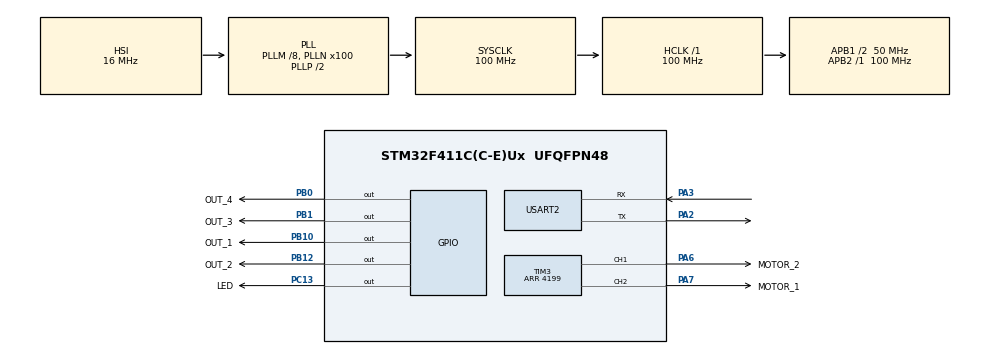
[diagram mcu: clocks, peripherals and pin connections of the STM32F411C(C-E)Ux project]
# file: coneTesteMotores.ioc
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Dma.Request0=USART2_RX
Dma.Request1=USART2_TX
Dma.USART2_RX.0.Direction=DMA_PERIPH_TO_MEMORY
Dma.USART2_RX.0.FIFOMode=DMA_FIFOMODE_DISABLE
Dma.USART2_RX.0.Instance=DMA1_Stream5
Dma.USART2_RX.0.MemDataAlignment=DMA_MDATAALIGN_BYTE
Dma.USART2_RX.0.MemInc=DMA_MINC_ENABLE
Dma.USART2_RX.0.Mode=DMA_CIRCULAR
Dma.USART2_RX.0.PeriphDataAlignment=DMA_PDATAALIGN_BYTE
Dma.USART2_RX.0.PeriphInc=DMA_PINC_DISABLE
Dma.USART2_RX.0.Priority=DMA_PRIORITY_LOW
Dma.USART2_TX.1.Direction=DMA_MEMORY_TO_PERIPH
Dma.USART2_TX.1.FIFOMode=DMA_FIFOMODE_DISABLE
Dma.USART2_TX.1.Instance=DMA1_Stream6
Dma.USART2_TX.1.MemDataAlignment=DMA_MDATAALIGN_BYTE
Dma.USART2_TX.1.MemInc=DMA_MINC_ENABLE
Dma.USART2_TX.1.Mode=DMA_NORMAL
Dma.USART2_TX.1.PeriphDataAlignment=DMA_PDATAALIGN_BYTE
Dma.USART2_TX.1.PeriphInc=DMA_PINC_DISABLE
Dma.USART2_TX.1.Priority=DMA_PRIORITY_LOW
FREERTOS.Tasks01=defaultTask,0,128,StartDefaultTask,Default,NULL,Dynamic,NULL,NULL
FREERTOS.configGENERATE_RUN_TIME_STATS=1
FREERTOS.configUSE_NEWLIB_REENTRANT=1
FREERTOS.configUSE_STATS_FORMATTING_FUNCTIONS=1
FREERTOS.configUSE_TRACE_FACILITY=1
Mcu.Family=STM32F4
Mcu.Name=STM32F411C(C-E)Ux
Mcu.Package=UFQFPN48
NVIC.DMA1_Stream5_IRQn=true\:5\:0\:false\:false\:true\:true\:false\:true\:true
NVIC.DMA1_Stream6_IRQn=true\:5\:0\:false\:false\:true\:true\:false\:true\:true
NVIC.PriorityGroup=NVIC_PRIORITYGROUP_4
NVIC.TIM1_UP_TIM10_IRQn=true\:15\:0\:false\:false\:true\:false\:false\:true\:true
NVIC.TimeBase=TIM1_UP_TIM10_IRQn
NVIC.TimeBaseIP=TIM1
NVIC.USART2_IRQn=true\:5\:0\:false\:false\:true\:true\:true\:true\:true
PA13.Mode=Serial_Wire
PA13.Signal=SYS_JTMS-SWDIO
PA14.Mode=Serial_Wire
PA14.Signal=SYS_JTCK-SWCLK
PA2.Mode=Asynchronous
PA2.Signal=USART2_TX
PA3.Mode=Asynchronous
PA3.Signal=USART2_RX
PA6.GPIO_Label=MOTOR_2
PA6.Signal=S_TIM3_CH1
PA7.GPIO_Label=MOTOR_1
PA7.Signal=S_TIM3_CH2
PB0.GPIO_Label=OUT_4
PB0.Signal=GPIO_Output
PB1.GPIO_Label=OUT_3
PB1.Signal=GPIO_Output
PB10.GPIO_Label=OUT_1
PB10.Signal=GPIO_Output
PB12.GPIO_Label=OUT_2
PB12.Signal=GPIO_Output
PC13-ANTI_TAMP.GPIO_Label=LED
PC13-ANTI_TAMP.Signal=GPIO_Output
ProjectManager.HeapSize=0x200
ProjectManager.StackSize=0x400
ProjectManager.TargetToolchain=STM32CubeIDE
RCC.48MHZClocksFreq_Value=50000000
RCC.AHBFreq_Value=100000000
RCC.APB1CLKDivider=RCC_HCLK_DIV2
RCC.APB1Freq_Value=50000000
RCC.APB1TimFreq_Value=100000000
RCC.APB2Freq_Value=100000000
RCC.APB2TimFreq_Value=100000000
RCC.CortexFreq_Value=100000000
RCC.HCLKFreq_Value=100000000
RCC.HSE_VALUE=25000000
RCC.HSI_VALUE=16000000
RCC.LSE_VALUE=32768
RCC.PLLM=8
RCC.PLLN=100
RCC.SYSCLKFreq_VALUE=100000000
RCC.SYSCLKSource=RCC_SYSCLKSOURCE_PLLCLK
RCC.VCOOutputFreq_Value=200000000
SH.S_TIM3_CH1.0=TIM3_CH1,PWM Generation1 CH1
SH.S_TIM3_CH2.0=TIM3_CH2,PWM Generation2 CH2
TIM3.Channel-PWM\ Generation1\ CH1=TIM_CHANNEL_1
TIM3.Channel-PWM\ Generation2\ CH2=TIM_CHANNEL_2
TIM3.Period=4199
USART2.VirtualMode=VM_ASYNC
VP_FREERTOS_VS_CMSIS_V1.Mode=CMSIS_V1
VP_SYS_VS_tim1.Mode=TIM1
board=custom

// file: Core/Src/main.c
/* USER CODE BEGIN Header */
/**
  ******************************************************************************
  * @file           : main.c
  * @brief          : Main program body
  ******************************************************************************
  * @attention
  *
  * Copyright (c) 2025 STMicroelectronics.
  * All rights reserved.
  *
  * This software is licensed under terms that can be found in the LICENSE file
  * in the root directory of this software component.
  * If no LICENSE file comes with this software, it is provided AS-IS.
  *
  ******************************************************************************
  */
/* USER CODE END Header */
#include "main.h"
#include "cmsis_os.h"
#include "dma.h"
#include "tim.h"
#include "usart.h"
#include "gpio.h"

/* USER CODE BEGIN Includes */
#include "FreeRTOS.h"
#include <stdlib.h>   // atoi
#include "task.h"
#include "queue.h"
#include "semphr.h"
#include <string.h>
#include <stdio.h>
#include <ctype.h>

/* USER CODE END Includes */

/* USER CODE BEGIN PD */
#define RX_QUEUE_LEN        128
#define CMD_LINE_MAX        64
#define UART_TX_TIMEOUT_MS  1000
#define MOTOR_PWM_CCR_FIXED 4000U

/* USER CODE END PD */

/* USER CODE BEGIN PV */
// UART2 RX (1 byte por interrupção)
static uint8_t uart2_rx_byte = 0;
static QueueHandle_t q_uart2_rx = NULL;

// UART2 TX sync
static SemaphoreHandle_t sem_uart2_tx = NULL;
static SemaphoreHandle_t mtx_uart2_tx = NULL;

// Console
static char cmd_line[CMD_LINE_MAX];
static uint32_t cmd_len = 0;

// Estado do motor
static uint8_t motor_enabled = 0;

/* USER CODE END PV */

void SystemClock_Config(void);
void MX_FREERTOS_Init(void);

/* USER CODE BEGIN 0 */
static void uart2_write_blocking_it(const uint8_t *data, uint16_t len, TickType_t timeoutTicks)
{
    if (data == NULL || len == 0) return;
    if (mtx_uart2_tx == NULL || sem_uart2_tx == NULL) return;

    if (xSemaphoreTake(mtx_uart2_tx, timeoutTicks) != pdTRUE) return;

    // garante semáforo "vazio" antes de iniciar TX
    (void)xSemaphoreTake(sem_uart2_tx, 0);

    if (HAL_UART_Transmit_IT(&huart2, (uint8_t*)data, len) == HAL_OK)
    {
        (void)xSemaphoreTake(sem_uart2_tx, timeoutTicks);
    }

    xSemaphoreGive(mtx_uart2_tx);
}

static void uart2_write_str(const char *s)
{
    uart2_write_blocking_it((const uint8_t*)s, (uint16_t)strlen(s), pdMS_TO_TICKS(UART_TX_TIMEOUT_MS));
}

void HAL_UART_TxCpltCallback(UART_HandleTypeDef *huart)
{
    if (huart->Instance != USART2) return;

    BaseType_t hpw = pdFALSE;
    xSemaphoreGiveFromISR(sem_uart2_tx, &hpw);
    portYIELD_FROM_ISR(hpw);
}

void HAL_UART_RxCpltCallback(UART_HandleTypeDef *huart)
{
    if (huart->Instance != USART2) return;

    BaseType_t hpw = pdFALSE;
    if (q_uart2_rx != NULL)
    {
        xQueueSendFromISR(q_uart2_rx, &uart2_rx_byte, &hpw);
    }

    // rearma recepção de 1 byte
    (void)HAL_UART_Receive_IT(&huart2, &uart2_rx_byte, 1);
    portYIELD_FROM_ISR(hpw);
}

void HAL_UART_ErrorCallback(UART_HandleTypeDef *huart)
{
    if (huart->Instance != USART2) return;
    // rearma RX em caso de erro
    (void)HAL_UART_Receive_IT(&huart2, &uart2_rx_byte, 1);
}

// Motores
static void motors_safe_off_pins(void)
{
    HAL_GPIO_WritePin(GPIOB, OUT_1_Pin, GPIO_PIN_RESET);
    HAL_GPIO_WritePin(GPIOB, OUT_2_Pin, GPIO_PIN_RESET);
    HAL_GPIO_WritePin(GPIOB, OUT_3_Pin, GPIO_PIN_RESET);
    HAL_GPIO_WritePin(GPIOB, OUT_4_Pin, GPIO_PIN_RESET);
}

static void motors_forward_pins(void)
{
    HAL_GPIO_WritePin(GPIOB, OUT_3_Pin, GPIO_PIN_RESET);
    HAL_GPIO_WritePin(GPIOB, OUT_4_Pin, GPIO_PIN_SET);
    HAL_GPIO_WritePin(GPIOB, OUT_1_Pin, GPIO_PIN_RESET);
    HAL_GPIO_WritePin(GPIOB, OUT_2_Pin, GPIO_PIN_SET);
}

//funcao para testar
static void motors_set_pwm_ccr(uint32_t ccr)
{
    uint32_t arr = __HAL_TIM_GET_AUTORELOAD(&htim3);

    // Garante CCR válido
    if (ccr > arr) ccr = arr;

    __HAL_TIM_SET_COMPARE(&htim3, TIM_CHANNEL_1, ccr);
    __HAL_TIM_SET_COMPARE(&htim3, TIM_CHANNEL_2, ccr);
}

static void motors_off(void)
{
    motors_set_pwm_ccr(0);
    motors_safe_off_pins();
    motor_enabled = 0;
}

static void motors_on(void)
{
    motors_forward_pins();
    motors_set_pwm_ccr(MOTOR_PWM_CCR_FIXED);
    motor_enabled = 1;
}

// console
static void print_help(void)
{
    uart2_write_str(
        "\r\nCommands:\r\n"
        "  help     - show this help\r\n"
        "  clear    - clear terminal\r\n"
        "  on       - motors ON (fixed PWM)\r\n"
        "  off      - motors OFF\r\n"
        "  status   - show motor status\r\n"
#if (configUSE_TRACE_FACILITY == 1) && (configUSE_STATS_FORMATTING_FUNCTIONS == 1)
        "  tasks    - list tasks\r\n"
#endif
#if (configGENERATE_RUN_TIME_STATS == 1)
        "  runtime  - runtime stats\r\n"
#endif
        "\r\n"
    );
}

static void handle_line(const char *line)
{
    // normaliza: remove espaços e lower->upper
    char cmd[CMD_LINE_MAX];
    size_t k = 0;
    for (size_t i = 0; line[i] && k < sizeof(cmd)-1; i++)
    {
        if (isspace((unsigned char)line[i])) continue;
        cmd[k++] = (char)toupper((unsigned char)line[i]);
    }
    cmd[k] = 0;

    if (strcmp(cmd, "HELP") == 0) { print_help(); return; }
    if (strcmp(cmd, "CLEAR") == 0) { uart2_write_str("\033c"); return; }

    if (strcmp(cmd, "ON") == 0) { motors_on(); uart2_write_str("OK ON\r\n"); return; }
    if (strcmp(cmd, "OFF") == 0) { motors_off(); uart2_write_str("OK OFF\r\n"); return; }
    if (strcmp(cmd, "STATUS") == 0)
    {
        char b[160];

        uint32_t arr  = __HAL_TIM_GET_AUTORELOAD(&htim3);
        uint32_t ccr1 = __HAL_TIM_GET_COMPARE(&htim3, TIM_CHANNEL_1);
        uint32_t ccr2 = __HAL_TIM_GET_COMPARE(&htim3, TIM_CHANNEL_2);

        snprintf(b, sizeof(b),
                 "EN=%u | FIXED_CCR=%lu | ARR=%lu CCR1=%lu CCR2=%lu\r\n",
                 motor_enabled,
                 (unsigned long)MOTOR_PWM_CCR_FIXED,
                 (unsigned long)arr,
                 (unsigned long)ccr1,
                 (unsigned long)ccr2);

        uart2_write_str(b);
        return;
    }

#if (configUSE_TRACE_FACILITY == 1) && (configUSE_STATS_FORMATTING_FUNCTIONS == 1)
    if (strcmp(cmd, "TASKS") == 0)
    {
        char out[512];
        strcpy(out, "Name\t\tState Prio Stack Num\r\n");
        vTaskList(out + strlen(out));
        uart2_write_str(out);
        return;
    }
#endif

#if (configGENERATE_RUN_TIME_STATS == 1)
    if (strcmp(cmd, "RUNTIME") == 0)
    {
        char out[512];
        strcpy(out, "Name\t\tAbs Time\t% Time\r\n");
        vTaskGetRunTimeStats(out + strlen(out));
        uart2_write_str(out);
        return;
    }
#endif

    uart2_write_str("ERR (type help)\r\n");
}

// tasks
static void shell_task(void *arg)
{
    (void)arg;

    uart2_write_str("\033cF411 UART2 console ready\r\n");
    print_help();
    uart2_write_str(">> ");

    for (;;)
    {
        uint8_t c;
        if (xQueueReceive(q_uart2_rx, &c, portMAX_DELAY) != pdTRUE)
            continue;

        // eco (opcional)
        uart2_write_blocking_it(&c, 1, pdMS_TO_TICKS(100));

        if (c == '\r' || c == '\n')
        {
            uart2_write_str("\r\n");
            if (cmd_len > 0)
            {
                cmd_line[cmd_len] = 0;
                handle_line(cmd_line);
                cmd_len = 0;
                memset(cmd_line, 0, sizeof(cmd_line));
            }
            uart2_write_str(">> ");
        }
        else if (c == 0x7F || c == 0x08) // backspace
        {
            if (cmd_len > 0)
            {
                cmd_len--;
                uart2_write_str("\b \b");
            }
        }
        else if (cmd_len < (CMD_LINE_MAX - 1))
        {
            cmd_line[cmd_len++] = (char)c;
        }
    }
}

static void blink_task(void *arg)
{
    (void)arg;
    TickType_t t = xTaskGetTickCount();
    for (;;)
    {
        HAL_GPIO_TogglePin(GPIOC, LED_Pin);
        vTaskDelayUntil(&t, pdMS_TO_TICKS(200));
    }
}

/* USER CODE END 0 */

int main(void)
{

  /* MCU Configuration--------------------------------------------------------*/

  /* Reset of all peripherals, Initializes the Flash interface and the Systick. */
  HAL_Init();

  /* Configure the system clock */
  SystemClock_Config();

  /* Initialize all configured peripherals */
  MX_GPIO_Init();
  MX_DMA_Init();
  MX_TIM3_Init();
  MX_USART2_UART_Init();
  /* USER CODE BEGIN 2 */
  HAL_TIM_PWM_Start(&htim3, TIM_CHANNEL_1);
  HAL_TIM_PWM_Start(&htim3, TIM_CHANNEL_2);

  motors_off();

  q_uart2_rx   = xQueueCreate(RX_QUEUE_LEN, sizeof(uint8_t));
  sem_uart2_tx = xSemaphoreCreateBinary();
  mtx_uart2_tx = xSemaphoreCreateMutex();

  HAL_UART_Receive_IT(&huart2, &uart2_rx_byte, 1);

  xTaskCreate(shell_task, "shell", 512, NULL, 4, NULL);
  xTaskCreate(blink_task, "blink", 128, NULL, 1, NULL);

  /* USER CODE END 2 */

  /* Call init function for freertos objects (in cmsis_os2.c) */
  MX_FREERTOS_Init();
  osKernelStart();

  /* We should never get here as control is now taken by the scheduler */

  /* Infinite loop */
  while (1)
  {

  }
}

void SystemClock_Config(void)
{
  RCC_OscInitTypeDef RCC_OscInitStruct = {0};
  RCC_ClkInitTypeDef RCC_ClkInitStruct = {0};

  /** Configure the main internal regulator output voltage
  */
  __HAL_RCC_PWR_CLK_ENABLE();
  __HAL_PWR_VOLTAGESCALING_CONFIG(PWR_REGULATOR_VOLTAGE_SCALE1);

  /** Initializes the RCC Oscillators according to the specified parameters
  * in the RCC_OscInitTypeDef structure.
  */
  RCC_OscInitStruct.OscillatorType = RCC_OSCILLATORTYPE_HSI;
  RCC_OscInitStruct.HSIState = RCC_HSI_ON;
  RCC_OscInitStruct.HSICalibrationValue = RCC_HSICALIBRATION_DEFAULT;
  RCC_OscInitStruct.PLL.PLLState = RCC_PLL_ON;
  RCC_OscInitStruct.PLL.PLLSource = RCC_PLLSOURCE_HSI;
  RCC_OscInitStruct.PLL.PLLM = 8;
  RCC_OscInitStruct.PLL.PLLN = 100;
  RCC_OscInitStruct.PLL.PLLP = RCC_PLLP_DIV2;
  RCC_OscInitStruct.PLL.PLLQ = 4;
  if (HAL_RCC_OscConfig(&RCC_OscInitStruct) != HAL_OK)
  {
    Error_Handler();
  }

  /** Initializes the CPU, AHB and APB buses clocks
  */
  RCC_ClkInitStruct.ClockType = RCC_CLOCKTYPE_HCLK|RCC_CLOCKTYPE_SYSCLK
                              |RCC_CLOCKTYPE_PCLK1|RCC_CLOCKTYPE_PCLK2;
  RCC_ClkInitStruct.SYSCLKSource = RCC_SYSCLKSOURCE_PLLCLK;
  RCC_ClkInitStruct.AHBCLKDivider = RCC_SYSCLK_DIV1;
  RCC_ClkInitStruct.APB1CLKDivider = RCC_HCLK_DIV2;
  RCC_ClkInitStruct.APB2CLKDivider = RCC_HCLK_DIV1;

  if (HAL_RCC_ClockConfig(&RCC_ClkInitStruct, FLASH_LATENCY_3) != HAL_OK)
  {
    Error_Handler();
  }
}

void HAL_TIM_PeriodElapsedCallback(TIM_HandleTypeDef *htim)
{
  if (htim->Instance == TIM1)
  {
    HAL_IncTick();
  }
}

void Error_Handler(void)
{
  __disable_irq();
  while (1)
  {
  }
}

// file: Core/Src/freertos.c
/* USER CODE BEGIN Header */
/**
  ******************************************************************************
  * File Name          : freertos.c
  * Description        : Code for freertos applications
  ******************************************************************************
  * @attention
  *
  * Copyright (c) 2025 STMicroelectronics.
  * All rights reserved.
  *
  * This software is licensed under terms that can be found in the LICENSE file
  * in the root directory of this software component.
  * If no LICENSE file comes with this software, it is provided AS-IS.
  *
  ******************************************************************************
  */
/* USER CODE END Header */

#include "FreeRTOS.h"
#include "task.h"
#include "main.h"
#include "cmsis_os.h"

osThreadId defaultTaskHandle;

void StartDefaultTask(void const * argument);

void MX_FREERTOS_Init(void); /* (MISRA C 2004 rule 8.1) */

/* GetIdleTaskMemory prototype (linked to static allocation support) */
void vApplicationGetIdleTaskMemory( StaticTask_t **ppxIdleTaskTCBBuffer, StackType_t **ppxIdleTaskStackBuffer, uint32_t *pulIdleTaskStackSize );

/* Hook prototypes */
void configureTimerForRunTimeStats(void);
unsigned long getRunTimeCounterValue(void);

/* USER CODE BEGIN 1 */
/* Functions needed when configGENERATE_RUN_TIME_STATS is on */
__weak void configureTimerForRunTimeStats(void)
{

}

__weak unsigned long getRunTimeCounterValue(void)
{
return 0;
}
/* USER CODE END 1 */

/* USER CODE BEGIN GET_IDLE_TASK_MEMORY */
static StaticTask_t xIdleTaskTCBBuffer;
static StackType_t xIdleStack[configMINIMAL_STACK_SIZE];

void vApplicationGetIdleTaskMemory( StaticTask_t **ppxIdleTaskTCBBuffer, StackType_t **ppxIdleTaskStackBuffer, uint32_t *pulIdleTaskStackSize )
{
  *ppxIdleTaskTCBBuffer = &xIdleTaskTCBBuffer;
  *ppxIdleTaskStackBuffer = &xIdleStack[0];
  *pulIdleTaskStackSize = configMINIMAL_STACK_SIZE;
  /* place for user code */
}
/* USER CODE END GET_IDLE_TASK_MEMORY */

void MX_FREERTOS_Init(void) {

  /* Create the thread(s) */
  /* definition and creation of defaultTask */
  osThreadDef(defaultTask, StartDefaultTask, osPriorityNormal, 0, 128);
  defaultTaskHandle = osThreadCreate(osThread(defaultTask), NULL);

}

void StartDefaultTask(void const * argument)
{
  for(;;)
  {
    osDelay(1);
  }
}
